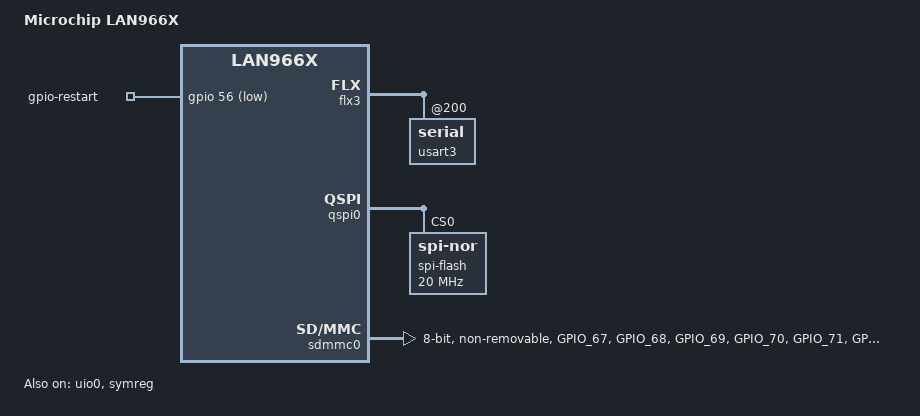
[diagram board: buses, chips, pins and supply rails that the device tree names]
// SPDX-License-Identifier: (GPL-2.0+ OR MIT)
/*
 * lan966x-mesa-pcb8291.dts - Device Tree file for PCB8291
 */
/dts-v1/;
#include "lan966x.dtsi"

/ {
	model = "Microchip LAN966X";
	compatible = "microchip,lan966x-sunrise", "microchip,lan966x";

	gpio-restart {
		compatible = "gpio-restart";
		gpios = <&gpio 56 GPIO_ACTIVE_LOW>;
		priority = <200>;
	};
};

&aes {
	status = "disabled"; /* Reserved by secure OS */
};

&flx3 {
	atmel,flexcom-mode = <ATMEL_FLEXCOM_MODE_USART>;
	status = "okay";

	usart3: serial@200 {
		pinctrl-0 = <&fc3_b_pins>;
		pinctrl-names = "default";
		status = "okay";
	};
};

&gpio {
	emmc_sd_pins: emmc-sd-pins {
		/* eMMC_SD - CMD, CLK, D0, D1, D2, D3, RSTN */
		pins = "GPIO_67", "GPIO_68", "GPIO_69", "GPIO_70",
			"GPIO_71", "GPIO_72", "GPIO_77";
		function = "emmc_sd";
	};

	emmc_pins: emmc-pins {
		/* eMMC - D4, D5, D6, D7 */
		pins = "GPIO_73", "GPIO_74", "GPIO_75", "GPIO_76";
		function = "emmc";
	};

	fc3_b_pins: fc3-b-pins {
		/* RX, TX */
		pins = "GPIO_52", "GPIO_53";
		function = "fc3_b";
	};
};

&qspi0 {
	status = "okay";

	spi-flash@0 {
		compatible = "jedec,spi-nor";
		reg = <0>;
		spi-max-frequency = <20000000>;
		#address-cells = <1>;
		#size-cells = <1>;
		spi-tx-bus-width = <4>;
		spi-rx-bus-width = <4>;
		m25p,fast-read;
	};
};

&reset {
	phy0-syscon = <&phy0_ctrl>;
	phy1-syscon = <&phy1_ctrl>;
	chip-syscon = <&chip_ctrl>;
};

&sdmmc0 {
	bus-width = <8>;
	cap-mmc-highspeed;
	cap-mmc-hw-reset;
	non-removable;
	pinctrl-0 = <&emmc_sd_pins>, <&emmc_pins>;
	pinctrl-names = "default";
	no-1-8-v;
	mmc-ddr-3_3v;
	tx-phase = <0>; /* 180 degrees phase shift */
	status = "okay";
};

&soc {
	chip_ctrl: syscon@e2010000 {
		compatible = "microchip,lan966x-chip-syscon", "syscon";
		reg = <0xe2010010 0x00000014>;
	};

	phy0_ctrl: syscon@e00a0600 {
		compatible = "microchip,lan966x-switch-syscon", "syscon";
		reg = <0xe00a0600 0x00000080>;
	};

	phy1_ctrl: syscon@e00a0a00 {
		compatible = "microchip,lan966x-switch-syscon", "syscon";
		reg = <0xe00a0a00 0x00000080>;
	};
};

&uio0 {
	interrupts = <GIC_SPI 19 IRQ_TYPE_LEVEL_HIGH>,
		     <GIC_SPI 10 IRQ_TYPE_LEVEL_HIGH>,
		     <GIC_SPI 11 IRQ_TYPE_LEVEL_HIGH>,
		     <GIC_SPI  9 IRQ_TYPE_LEVEL_HIGH>,
		     <GIC_SPI 80 IRQ_TYPE_LEVEL_HIGH>,
		     <GIC_SPI 81 IRQ_TYPE_LEVEL_HIGH>,
		     <GIC_SPI 18 IRQ_TYPE_LEVEL_HIGH>;
	interrupt-names = "master", "ptp_sync", "ptp_rdy",
			  "oam_vop", "cu_phy0", "cu_phy1",
			  "sgpio";
	status = "okay";
};

/* Used by symreg tool, DO NOT upstream */
&symreg {
	status = "okay";
};
